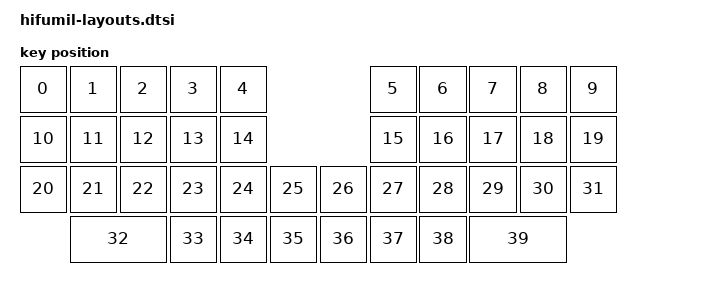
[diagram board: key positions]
#include <physical_layouts.dtsi>

/ {
    physical_layout0: physical_layout_0 {
        compatible = "zmk,physical-layout";
        display-name = "4x10 Layout (Staggered)";
        transform = <&default_transform>;
        kscan = <&kscan0>;

        //                     w    h     x     y    rot   rx   ry
        keys =
            /* Row 0: split at center */
            <&key_physical_attrs 100 100    0     0     0    0    0>,
            <&key_physical_attrs 100 100  100     0     0    0    0>,
            <&key_physical_attrs 100 100  200     0     0    0    0>,
            <&key_physical_attrs 100 100  300     0     0    0    0>,
            <&key_physical_attrs 100 100  400     0     0    0    0>,

            <&key_physical_attrs 100 100  700     0     0    0    0>,
            <&key_physical_attrs 100 100  800     0     0    0    0>,
            <&key_physical_attrs 100 100  900     0     0    0    0>,
            <&key_physical_attrs 100 100 1000     0     0    0    0>,
            <&key_physical_attrs 100 100 1100     0     0    0    0>,

            /* Row 1: directly below row 0 */
            <&key_physical_attrs 100 100    0   100     0    0    0>,
            <&key_physical_attrs 100 100  100   100     0    0    0>,
            <&key_physical_attrs 100 100  200   100     0    0    0>,
            <&key_physical_attrs 100 100  300   100     0    0    0>,
            <&key_physical_attrs 100 100  400   100     0    0    0>,

            <&key_physical_attrs 100 100  700   100     0    0    0>,
            <&key_physical_attrs 100 100  800   100     0    0    0>,
            <&key_physical_attrs 100 100  900   100     0    0    0>,
            <&key_physical_attrs 100 100 1000   100     0    0    0>,
            <&key_physical_attrs 100 100 1100   100     0    0    0>,

            /* Row 2: slightly staggered, includes thumb overlap */
            <&key_physical_attrs 100 100    0   200     0    0    0>,
            <&key_physical_attrs 100 100  100   200     0    0    0>,
            <&key_physical_attrs 100 100  200   200     0    0    0>,
            <&key_physical_attrs 100 100  300   200     0    0    0>,
            <&key_physical_attrs 100 100  400   200     0    0    0>,
            /* overlap with next row (thumb cluster style) */
            <&key_physical_attrs 100 100  500   200     0    0    0>, // (3,4)
            <&key_physical_attrs 100 100  600   200     0    0    0>, // (3,5)
            <&key_physical_attrs 100 100  700   200     0    0    0>,
            <&key_physical_attrs 100 100  800   200     0    0    0>,
            <&key_physical_attrs 100 100  900   200     0    0    0>,
            <&key_physical_attrs 100 100 1000   200     0    0    0>,
            <&key_physical_attrs 100 100 1100   200     0    0    0>,

            /* Row 3: lower/staggered thumbs */
            <&key_physical_attrs 200 100  100   300     0    0    0>,
            <&key_physical_attrs 100 100  300   300     0    0    0>,
            <&key_physical_attrs 100 100  400   300     0    0    0>,
            <&key_physical_attrs 100 100  500   300     0    0    0>,
            <&key_physical_attrs 100 100  600   300     0    0    0>,
            <&key_physical_attrs 100 100  700   300     0    0    0>,
            <&key_physical_attrs 100 100 800   300     0    0    0>,
            <&key_physical_attrs 200 100 900   300     0    0    0>;
    };
};
